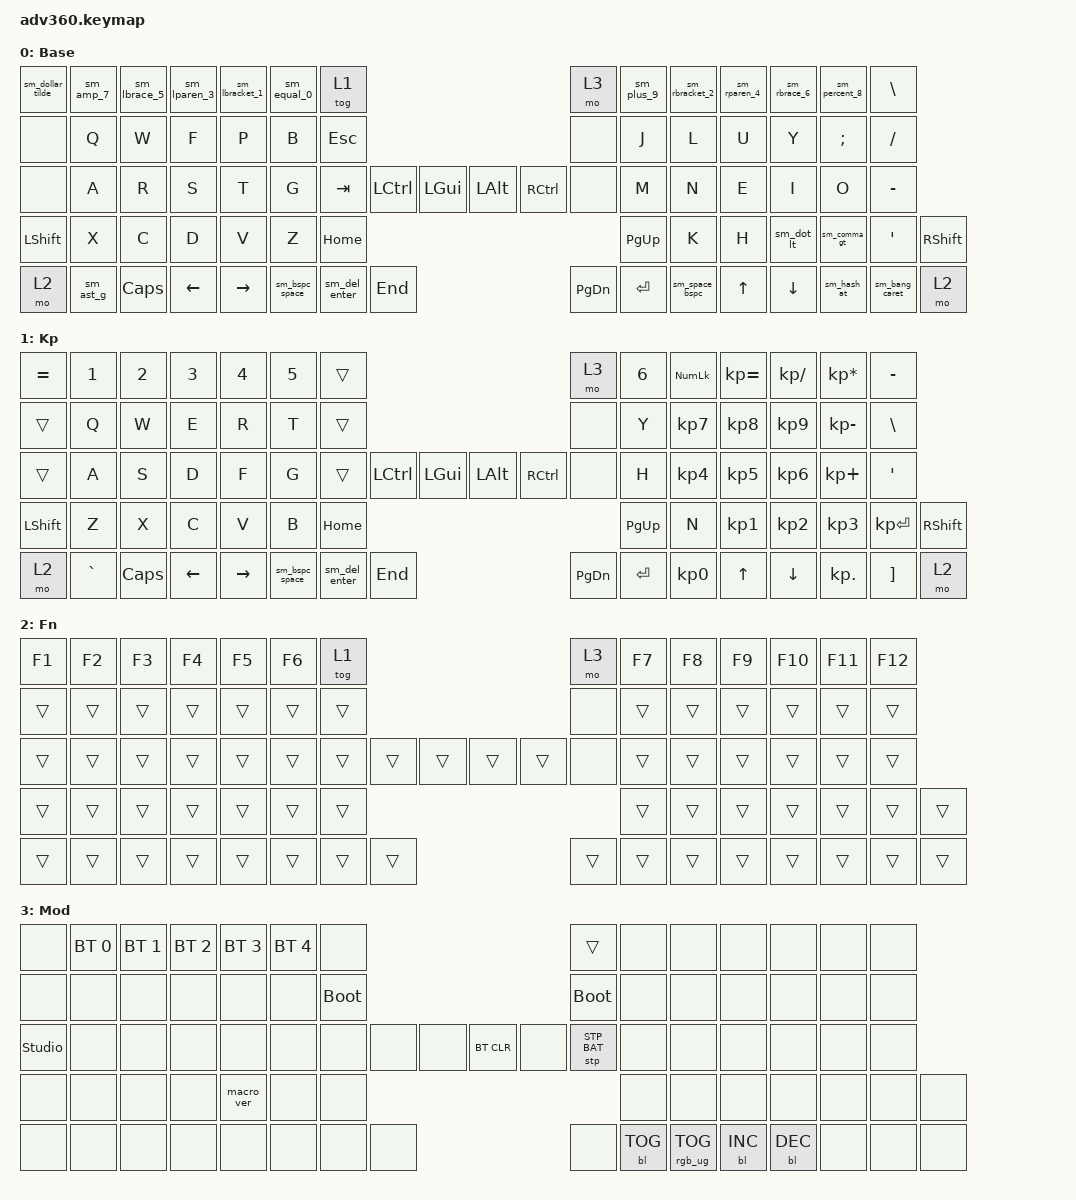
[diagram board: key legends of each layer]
#include <behaviors.dtsi>
#include <dt-bindings/zmk/keys.h>
#include <dt-bindings/zmk/bt.h>
#include <dt-bindings/zmk/rgb.h>
#include <dt-bindings/zmk/stp.h>
#include <dt-bindings/zmk/backlight.h>
#include <dt-bindings/zmk/pointing.h>

/ {
  behaviors {
    #include "macros.dtsi"
    #include "version.dtsi"

    hm: homerow_mods {
        compatible = "zmk,behavior-hold-tap";
        label = "HOMEROW_MODS";
        #binding-cells = <2>;
        tapping-term-ms = <200>;
        // quick_tap_ms = <175>;  // deprecated
        flavor = "tap-preferred";
        bindings = <&kp>, <&kp>;
    };

    // === Top row left (positions 1–6): $ & { ( [ =  with Shift: ~ 7 5 3 1 0 ===
    sm_dollar_tilde: sm_dollar_tilde {
      compatible = "zmk,behavior-mod-morph";
      #binding-cells = <0>;
      // label = "SM_$~";
      bindings = <&kp DOLLAR>, <&kp TILDE>;
      mods = <(MOD_LSFT|MOD_RSFT)>;
    };
    sm_amp_7: sm_amp_7 {
      compatible = "zmk,behavior-mod-morph";
      #binding-cells = <0>;
      // label = "SM_&7";
      bindings = <&kp AMPERSAND>, <&kp N7>;
      mods = <(MOD_LSFT|MOD_RSFT)>;
    };
    sm_lbrace_5: sm_lbrace_5 {
      compatible = "zmk,behavior-mod-morph";
      #binding-cells = <0>;
      // label = "SM_{5";
      bindings = <&kp LEFT_BRACE>, <&kp N5>;
      mods = <(MOD_LSFT|MOD_RSFT)>;
    };
    sm_lparen_3: sm_lparen_3 {
      compatible = "zmk,behavior-mod-morph";
      #binding-cells = <0>;
      // label = "SM_(3";
      bindings = <&kp LEFT_PARENTHESIS>, <&kp N3>;
      mods = <(MOD_LSFT|MOD_RSFT)>;
    };
    sm_lbracket_1: sm_lbracket_1 {
      compatible = "zmk,behavior-mod-morph";
      #binding-cells = <0>;
      // label = "SM_[1";
      bindings = <&kp LEFT_BRACKET>, <&kp N1>;
      mods = <(MOD_LSFT|MOD_RSFT)>;
    };
    sm_equal_0: sm_equal_0 {
      compatible = "zmk,behavior-mod-morph";
      #binding-cells = <0>;
      // label = "SM_=0";
      bindings = <&kp EQUAL>, <&kp N0>;
      mods = <(MOD_LSFT|MOD_RSFT)>;
    };

    // === Top row right (positions 7–12): + ] ) } % \  with Shift: 9 2 4 6 8 | ===
    sm_plus_9: sm_plus_9 {
      compatible = "zmk,behavior-mod-morph";
      #binding-cells = <0>;
      // label = "SM_+9";
      bindings = <&kp PLUS>, <&kp N9>;
      mods = <(MOD_LSFT|MOD_RSFT)>;
    };
    sm_rbracket_2: sm_rbracket_2 {
      compatible = "zmk,behavior-mod-morph";
      #binding-cells = <0>;
      // label = "SM_]2";
      bindings = <&kp RIGHT_BRACKET>, <&kp N2>;
      mods = <(MOD_LSFT|MOD_RSFT)>;
    };
    sm_rparen_4: sm_rparen_4 {
      compatible = "zmk,behavior-mod-morph";
      #binding-cells = <0>;
      // label = "SM_)4";
      bindings = <&kp RIGHT_PARENTHESIS>, <&kp N4>;
      mods = <(MOD_LSFT|MOD_RSFT)>;
    };
    sm_rbrace_6: sm_rbrace_6 {
      compatible = "zmk,behavior-mod-morph";
      #binding-cells = <0>;
      // label = "SM_}6";
      bindings = <&kp RIGHT_BRACE>, <&kp N6>;
      mods = <(MOD_LSFT|MOD_RSFT)>;
    };
    sm_percent_8: sm_percent_8 {
      compatible = "zmk,behavior-mod-morph";
      #binding-cells = <0>;
      // label = "SM_%8";
      bindings = <&kp PERCENT>, <&kp N8>;
      mods = <(MOD_LSFT|MOD_RSFT)>;
    };
     
    // Row 4 to swap comma and dot
    // .  -> <  (when Shift is held)
    sm_dot_lt: sm_dot_lt {
      compatible = "zmk,behavior-mod-morph";
      #binding-cells = <0>;
      // label = "SM_.<";
      bindings = <&kp DOT>, <&kp LESS_THAN>;
      mods = <(MOD_LSFT|MOD_RSFT)>;
    };

    // ,  -> >  (when Shift is held)
    sm_comma_gt: sm_comma_gt {
      compatible = "zmk,behavior-mod-morph";
      #binding-cells = <0>;
      // label = "SM_,>";
      bindings = <&kp COMMA>, <&kp GREATER_THAN>;
      mods = <(MOD_LSFT|MOD_RSFT)>;
    };

    // Bottom row, left half
    //  *  -> `    (replacing ` -> ~)
    sm_ast_g: sm_asterisk_grave {
      compatible = "zmk,behavior-mod-morph";
      #binding-cells = <0>;
      // label = "SM_*`";
      bindings = <&kp ASTERISK>, <&kp GRAVE>;
      mods = <(MOD_LSFT|MOD_RSFT)>;
    };
 
    // Bottom row, right half
    //  #  -> @    (replacing [ -> {)
    //  !  -> ^    (replacing ] -> })
    sm_hash_at: sm_hash_at {
      compatible = "zmk,behavior-mod-morph";
      #binding-cells = <0>;
      // label = "SM_#@";
      bindings = <&kp HASH>, <&kp AT>;
      mods = <(MOD_LSFT|MOD_RSFT)>;
    };
    sm_bang_caret: sm_bang_caret {
      compatible = "zmk,behavior-mod-morph";
      #binding-cells = <0>;
      // label = "SM_!^";
      bindings = <&kp EXCLAMATION>, <&kp CARET>;
      mods = <(MOD_LSFT|MOD_RSFT)>;
    };

    // Thumb keys: Shift swaps Backspace/Space and Delete/Enter
    sm_bspc_space: sm_bspc_space {
      compatible = "zmk,behavior-mod-morph";
      #binding-cells = <0>;
      bindings = <&kp BACKSPACE>, <&kp SPACE>;
      mods = <(MOD_LSFT|MOD_RSFT)>;
    };
    sm_del_enter: sm_del_enter {
      compatible = "zmk,behavior-mod-morph";
      #binding-cells = <0>;
      bindings = <&kp DELETE>, <&kp ENTER>;
      mods = <(MOD_LSFT|MOD_RSFT)>;
    };
    sm_space_bspc: sm_space_bspc {
      compatible = "zmk,behavior-mod-morph";
      #binding-cells = <0>;
      bindings = <&kp SPACE>, <&kp BACKSPACE>;
      mods = <(MOD_LSFT|MOD_RSFT)>;
    };
  };

  keymap {
    compatible = "zmk,keymap";

    default_layer {
      display-name = "Base";
      bindings = <
        // Row 1
        // $~            &7        {5           (3           [1             =0          kp                                                                      Mod   +9         ]2             )4           }6           %8             \|
        &sm_dollar_tilde &sm_amp_7 &sm_lbrace_5 &sm_lparen_3 &sm_lbracket_1 &sm_equal_0 &tog 1                                                                  &mo 3 &sm_plus_9 &sm_rbracket_2 &sm_rparen_4 &sm_rbrace_6 &sm_percent_8  &kp BSLH
        
        // Row 2        
        // Disabled      qQ        wW           fF           pP             bB          (1) Esc                                                                 (3)   jJ         lL             uU           yY           ;:             /?
        &none            &kp Q     &kp W        &kp F        &kp P          &kp B       &kp ESC                                                                 &none &kp J      &kp L          &kp U        &kp Y        &kp SEMI       &kp SLASH
        
        // Row 3
        // Disabled      aA        rR           sS           tT             gG          (2) Tab                Ctrl    Command  Alt        Ctrl                 (4)   mM         nN             eE           iI           oO             -_
        &none            &kp A     &kp R        &kp S        &kp T          &kp G       &kp TAB           &kp LCTRL   &kp LGUI  &kp LALT   &kp RCTRL            &none &kp M      &kp N          &kp E        &kp I        &kp O          &kp MINUS
                                                                                                                                                               
        // Row 4                                                                                                                                              
        // Shift         xX        cC           dD           vV             zZ                                            Home  Page Up                                          kK             hH           .<           ,>             '"
        &kp LSHFT        &kp X     &kp C        &kp D        &kp V          &kp Z                                     &kp HOME  &kp PG_UP                                        &kp K          &kp H        &sm_dot_lt   &sm_comma_gt   &kp SQT        &kp RSHFT
                                                                                                                                                             
        // Row
        // fn            *`        Caps         Left Arrow   Right Arrow                 Backsp/Spc     Delete/Ent         End  Page Dwn   Enter          Space/Bspc                            Up Arrow     Down Arrow   #@             !^             fn
        &mo 2            &sm_ast_g &kp CAPS     &kp LEFT     &kp RIGHT               &sm_bspc_space  &sm_del_enter     &kp END  &kp PG_DN  &kp ENTER      &sm_space_bspc                        &kp UP       &kp DOWN     &sm_hash_at    &sm_bang_caret &mo 2
      >;
    };

    keypad {
      display-name = "Kp";
      bindings = <
        &kp EQUAL &kp N1    &kp N2   &kp N3   &kp N4     &kp N5 &trans                                                            &mo 3 &kp N6 &kp KP_NUM &kp KP_EQUAL &kp KP_DIVIDE &kp KP_MULTIPLY &kp MINUS
        &trans    &kp Q     &kp W    &kp E    &kp R      &kp T  &trans                                                            &none &kp Y  &kp KP_N7  &kp KP_N8    &kp KP_N9     &kp KP_MINUS    &kp BSLH
        &trans    &kp A     &kp S    &kp D    &kp F      &kp G  &trans          &kp LCTRL &kp LGUI  &kp LALT  &kp RCTRL           &none &kp H  &kp KP_N4  &kp KP_N5    &kp KP_N6     &kp KP_PLUS     &kp SQT
        &kp LSHFT &kp Z     &kp X    &kp C    &kp V      &kp B                            &kp HOME  &kp PG_UP                           &kp N  &kp KP_N1  &kp KP_N2    &kp KP_N3     &kp KP_ENTER    &kp RSHFT
        &mo 2     &kp GRAVE &kp CAPS &kp LEFT &kp RIGHT                &sm_bspc_space &sm_del_enter &kp END &kp PG_DN &kp ENTER     &kp KP_N0    &kp UP     &kp DOWN     &kp KP_DOT    &kp RBKT        &mo 2
      >;
    };
    fn {
      display-name = "Fn";
      bindings = <
        &kp F1 &kp F2 &kp F3 &kp F4 &kp F5 &kp F6  &tog 1                                          &mo 3 &kp F7 &kp F8 &kp F9 &kp F10 &kp F11 &kp F12
        &trans &trans &trans &trans &trans &trans  &trans                                          &none &trans &trans &trans &trans  &trans  &trans
        &trans &trans &trans &trans &trans &trans  &trans       &trans &trans &trans &trans        &none &trans &trans &trans &trans  &trans  &trans
        &trans &trans &trans &trans &trans &trans                      &trans &trans                     &trans &trans &trans &trans  &trans  &trans
        &trans &trans &trans &trans &trans               &trans &trans &trans &trans &trans &trans              &trans &trans &trans  &trans  &trans
      >;
    };

    mod {
      display-name = "Mod";
      bindings = <
        &none              &bt BT_SEL 0 &bt BT_SEL 1 &bt BT_SEL 2 &bt BT_SEL 3 &bt BT_SEL 4 &none                                                               &trans               &none     &none        &none        &none &none &none
        &none              &none        &none        &none        &none        &none        &bootloader                                                         &bootloader          &none     &none        &none        &none &none &none
        &studio_unlock     &none        &none        &none        &none        &none        &none          &none &none  &bt BT_CLR  &none                       &stp STP_BAT         &none     &none        &none        &none &none &none
        &none &none        &none        &none        &macro_ver   &none                                          &none  &none                                                        &none     &none        &none        &none &none &none
        &none &none        &none        &none        &none                                           &none &none &none  &none       &bl BL_TOG &rgb_ug RGB_TOG                                 &bl BL_INC   &bl BL_DEC   &none &none &none
      >;
    };

    extra1 { 
      display-name = "Red";    
      status = "reserved";
    };

    extra2 { 
      display-name = "Purple";    
      status = "reserved";
    };

    extra3 { 
      display-name = "Cyan";    
      status = "reserved";
    };

    extra4 { 
      display-name = "Yellow";    
      status = "reserved";
    };
  };
};
